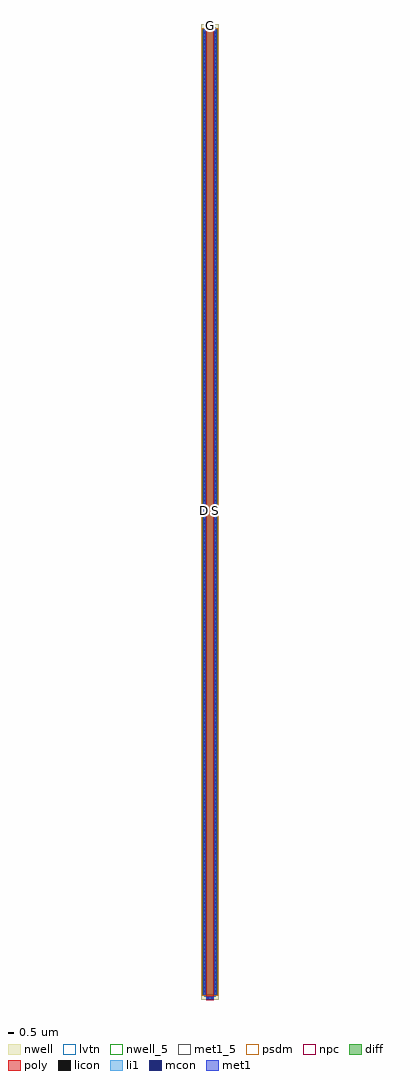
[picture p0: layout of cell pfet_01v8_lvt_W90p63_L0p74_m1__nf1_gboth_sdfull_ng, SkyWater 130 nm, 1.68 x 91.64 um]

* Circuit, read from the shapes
.subckt pfet_01v8_lvt_W90p63_L0p74_m1__nf1_gboth_sdfull_ng B D G S
XM1 S G D B sky130_fd_pr__pfet_01v8_lvt w=90.63 l=0.74
.ends

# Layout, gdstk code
import gdstk
lib = gdstk.Library(unit=1e-6, precision=1e-09)
def R(c, l, rs):  # rectangles x0, y0, x1, y1
    for r in rs: c.add(gdstk.rectangle(r[:2], r[2:], *l))
def A(c, l, x, y, w, h, nx, ny, dx, dy):  # array of equal rectangles
    R(c, l, [(x+i*dx, y+j*dy, x+i*dx+w, y+j*dy+h) for i in range(nx) for j in range(ny)])
nwell_5 = (64, 5)
nwell = (64, 20)
diff = (65, 20)
poly = (66, 20)
licon = (66, 44)
li1 = (67, 20)
mcon = (67, 44)
met1_5 = (68, 5)
met1 = (68, 20)
psdm = (94, 20)
npc = (95, 20)
lvtn = (125, 44)

sky130_fd_pr__pfet_01v8_ = lib.new_cell('sky130_fd_pr__pfet_01v8_lvt_UUTSTT')
R(sky130_fd_pr__pfet_01v8_, nwell, [(-0.84,-45.815,0.84,45.815)])
R(sky130_fd_pr__pfet_01v8_, diff, [(-0.66,-45.315,0.66,45.315)])
R(sky130_fd_pr__pfet_01v8_, poly, [(-0.37,-45.8,0.37,45.8)])
A(sky130_fd_pr__pfet_01v8_, licon, -0.6, -45.135, 0.17, 0.17, 1, 266, 0, 0.34)
A(sky130_fd_pr__pfet_01v8_, licon, 0.43, -45.135, 0.17, 0.17, 1, 266, 0, 0.34)
R(sky130_fd_pr__pfet_01v8_, licon, [(-0.255,-45.72,-0.085,-45.55), (0.085,-45.72,0.255,-45.55), (-0.255,45.55,-0.085,45.72), (0.085,45.55,0.255,45.72)])
R(sky130_fd_pr__pfet_01v8_, li1, [(-0.37,-45.72,0.37,-45.55), (-0.6,-45.335,-0.43,45.335), (0.43,-45.335,0.6,45.335), (-0.37,45.55,0.37,45.72)])
A(sky130_fd_pr__pfet_01v8_, mcon, -0.6, -45.085, 0.17, 0.17, 1, 251, 0, 0.36)
A(sky130_fd_pr__pfet_01v8_, mcon, 0.43, -45.085, 0.17, 0.17, 1, 251, 0, 0.36)
R(sky130_fd_pr__pfet_01v8_, mcon, [(-0.265,-45.72,-0.095,-45.55), (0.095,-45.72,0.265,-45.55), (-0.265,45.55,-0.095,45.72), (0.095,45.55,0.265,45.72)])
R(sky130_fd_pr__pfet_01v8_, met1, [(-0.35,-45.75,0.35,-45.52), (-0.63,-45.315,-0.4,45.315), (0.4,-45.315,0.63,45.315), (-0.35,45.52,0.35,45.75)])
R(sky130_fd_pr__pfet_01v8_, psdm, [(-0.785,-45.44,0.785,45.44)])
R(sky130_fd_pr__pfet_01v8_, npc, [(-0.355,-45.82,0.355,-45.45), (-0.355,45.45,0.355,45.82)])
R(sky130_fd_pr__pfet_01v8_, lvtn, [(-0.55,-45.495,0.55,45.495)])
sky130_fd_pr__pfet_01v8_.add(gdstk.Label('D', (-0.515,0), layer=67, texttype=5))
sky130_fd_pr__pfet_01v8_.add(gdstk.Label('S', (0.515,0), layer=67, texttype=5))
sky130_fd_pr__pfet_01v8_.add(gdstk.Label('G', (0,45.635), layer=67, texttype=5))

pfet_01v8_lvt_w90p63_l0p = lib.new_cell('pfet_01v8_lvt_W90p63_L0p74_m1__nf1_gboth_sdfull_ng')
R(pfet_01v8_lvt_w90p63_l0p, nwell_5, [(0.05,45.765,0.15,45.865)])
R(pfet_01v8_lvt_w90p63_l0p, nwell, [(0.05,45.765,0.15,45.865)])
R(pfet_01v8_lvt_w90p63_l0p, met1_5, [(0.21,45.815,0.44,46.015), (1.24,45.815,1.47,46.015), (0.49,91.335,1.19,91.565)])
R(pfet_01v8_lvt_w90p63_l0p, met1, [(0.21,45.815,0.44,46.015), (1.24,45.815,1.47,46.015), (0.49,91.335,1.19,91.565)])
pfet_01v8_lvt_w90p63_l0p.add(gdstk.Reference(sky130_fd_pr__pfet_01v8_, (0.84,45.815)))
pfet_01v8_lvt_w90p63_l0p.add(gdstk.Label('D', (0.325,45.915), layer=68, texttype=5))
pfet_01v8_lvt_w90p63_l0p.add(gdstk.Label('S', (1.355,45.915), layer=68, texttype=5))
pfet_01v8_lvt_w90p63_l0p.add(gdstk.Label('G', (0.84,91.45), layer=68, texttype=5))
pfet_01v8_lvt_w90p63_l0p.add(gdstk.Label('B', (0.1,45.815), layer=64, texttype=5))

lib.write_gds('pfet_01v8_lvt_W90p63_L0p74_m1__nf1_gboth_sdfull_ng.gds')
